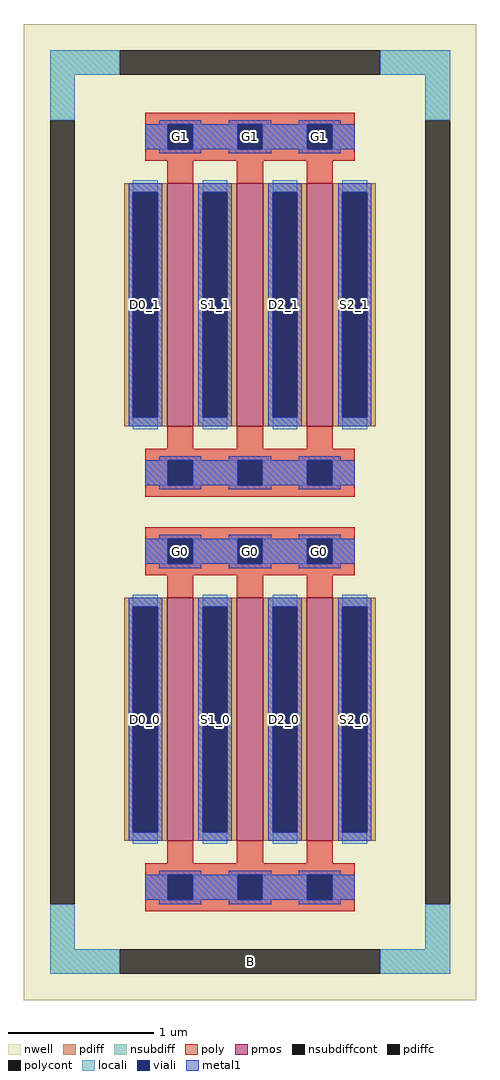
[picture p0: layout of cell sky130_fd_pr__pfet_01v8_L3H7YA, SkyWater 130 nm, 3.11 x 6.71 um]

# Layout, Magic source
magic
tech sky130A
magscale 1 2
<< nwell >>
rect -311 -671 311 671
<< pmos >>
rect -114 118 -78 452
rect -18 118 18 452
rect 78 118 114 452
rect -114 -452 -78 -118
rect -18 -452 18 -118
rect 78 -452 114 -118
<< pdiff >>
rect -173 440 -114 452
rect -173 130 -161 440
rect -127 130 -114 440
rect -173 118 -114 130
rect -78 440 -18 452
rect -78 130 -65 440
rect -31 130 -18 440
rect -78 118 -18 130
rect 18 440 78 452
rect 18 130 31 440
rect 65 130 78 440
rect 18 118 78 130
rect 114 440 173 452
rect 114 130 127 440
rect 161 130 173 440
rect 114 118 173 130
rect -173 -130 -114 -118
rect -173 -440 -161 -130
rect -127 -440 -114 -130
rect -173 -452 -114 -440
rect -78 -130 -18 -118
rect -78 -440 -65 -130
rect -31 -440 -18 -130
rect -78 -452 -18 -440
rect 18 -130 78 -118
rect 18 -440 31 -130
rect 65 -440 78 -130
rect 18 -452 78 -440
rect 114 -130 173 -118
rect 114 -440 127 -130
rect 161 -440 173 -130
rect 114 -452 173 -440
<< pdiffc >>
rect -161 130 -127 440
rect -65 130 -31 440
rect 31 130 65 440
rect 127 130 161 440
rect -161 -440 -127 -130
rect -65 -440 -31 -130
rect 31 -440 65 -130
rect 127 -440 161 -130
<< nsubdiff >>
rect -275 601 -179 635
rect 179 601 275 635
rect -275 539 -241 601
rect 241 539 275 601
rect -275 -601 -241 -539
rect 241 -601 275 -539
rect -275 -635 -179 -601
rect 179 -635 275 -601
<< nsubdiffcont >>
rect -179 601 179 635
rect -275 -539 -241 539
rect 241 -539 275 539
rect -179 -635 179 -601
<< poly >>
rect -144 533 144 549
rect -144 499 -113 533
rect -79 499 -17 533
rect 17 499 79 533
rect 113 499 144 533
rect -144 483 144 499
rect -114 452 -78 483
rect -18 452 18 483
rect 78 452 114 483
rect -114 87 -78 118
rect -18 87 18 118
rect 78 87 114 118
rect -144 71 144 87
rect -144 37 -113 71
rect -79 37 -17 71
rect 17 37 79 71
rect 113 37 144 71
rect -144 21 144 37
rect -144 -37 144 -21
rect -144 -71 -113 -37
rect -79 -71 -17 -37
rect 17 -71 79 -37
rect 113 -71 144 -37
rect -144 -87 144 -71
rect -114 -118 -78 -87
rect -18 -118 18 -87
rect 78 -118 114 -87
rect -114 -483 -78 -452
rect -18 -483 18 -452
rect 78 -483 114 -452
rect -144 -499 144 -483
rect -144 -533 -113 -499
rect -79 -533 -17 -499
rect 17 -533 79 -499
rect 113 -533 144 -499
rect -144 -549 144 -533
<< polycont >>
rect -113 499 -79 533
rect -17 499 17 533
rect 79 499 113 533
rect -113 37 -79 71
rect -17 37 17 71
rect 79 37 113 71
rect -113 -71 -79 -37
rect -17 -71 17 -37
rect 79 -71 113 -37
rect -113 -533 -79 -499
rect -17 -533 17 -499
rect 79 -533 113 -499
<< locali >>
rect -275 601 -179 635
rect 179 601 275 635
rect -275 539 -241 601
rect 241 539 275 601
rect -144 499 -113 533
rect -79 499 -17 533
rect 17 499 79 533
rect 113 499 144 533
rect -161 440 -127 456
rect -161 114 -127 130
rect -65 440 -31 456
rect -65 114 -31 130
rect 31 440 65 456
rect 31 114 65 130
rect 127 440 161 456
rect 127 114 161 130
rect -144 37 -113 71
rect -79 37 -17 71
rect 17 37 79 71
rect 113 37 144 71
rect -144 -71 -113 -37
rect -79 -71 -17 -37
rect 17 -71 79 -37
rect 113 -71 144 -37
rect -161 -130 -127 -114
rect -161 -456 -127 -440
rect -65 -130 -31 -114
rect -65 -456 -31 -440
rect 31 -130 65 -114
rect 31 -456 65 -440
rect 127 -130 161 -114
rect 127 -456 161 -440
rect -144 -533 -113 -499
rect -79 -533 -17 -499
rect 17 -533 79 -499
rect 113 -533 144 -499
rect -275 -601 -241 -539
rect 241 -601 275 -539
rect -275 -635 -179 -601
rect 179 -635 275 -601
<< viali >>
rect -113 499 -79 533
rect -17 499 17 533
rect 79 499 113 533
rect -161 130 -127 440
rect -65 130 -31 440
rect 31 130 65 440
rect 127 130 161 440
rect -113 37 -79 71
rect -17 37 17 71
rect 79 37 113 71
rect -113 -71 -79 -37
rect -17 -71 17 -37
rect 79 -71 113 -37
rect -161 -440 -127 -130
rect -65 -440 -31 -130
rect 31 -440 65 -130
rect 127 -440 161 -130
rect -113 -533 -79 -499
rect -17 -533 17 -499
rect 79 -533 113 -499
<< metal1 >>
rect -125 533 -67 539
rect -29 533 29 539
rect 67 533 125 539
rect -144 499 -113 533
rect -79 499 -17 533
rect 17 499 79 533
rect 113 499 144 533
rect -125 493 -67 499
rect -29 493 29 499
rect 67 493 125 499
rect -167 440 -121 452
rect -167 130 -161 440
rect -127 130 -121 440
rect -167 118 -121 130
rect -71 440 -25 452
rect -71 130 -65 440
rect -31 130 -25 440
rect -71 118 -25 130
rect 25 440 71 452
rect 25 130 31 440
rect 65 130 71 440
rect 25 118 71 130
rect 121 440 167 452
rect 121 130 127 440
rect 161 130 167 440
rect 121 118 167 130
rect -125 71 -67 77
rect -29 71 29 77
rect 67 71 125 77
rect -144 37 -113 71
rect -79 37 -17 71
rect 17 37 79 71
rect 113 37 144 71
rect -125 31 -67 37
rect -29 31 29 37
rect 67 31 125 37
rect -125 -37 -67 -31
rect -29 -37 29 -31
rect 67 -37 125 -31
rect -144 -71 -113 -37
rect -79 -71 -17 -37
rect 17 -71 79 -37
rect 113 -71 144 -37
rect -125 -77 -67 -71
rect -29 -77 29 -71
rect 67 -77 125 -71
rect -167 -130 -121 -118
rect -167 -440 -161 -130
rect -127 -440 -121 -130
rect -167 -452 -121 -440
rect -71 -130 -25 -118
rect -71 -440 -65 -130
rect -31 -440 -25 -130
rect -71 -452 -25 -440
rect 25 -130 71 -118
rect 25 -440 31 -130
rect 65 -440 71 -130
rect 25 -452 71 -440
rect 121 -130 167 -118
rect 121 -440 127 -130
rect 161 -440 167 -130
rect 121 -452 167 -440
rect -125 -499 -67 -493
rect -29 -499 29 -493
rect 67 -499 125 -493
rect -144 -533 -113 -499
rect -79 -533 -17 -499
rect 17 -533 79 -499
rect 113 -533 144 -499
rect -125 -539 -67 -533
rect -29 -539 29 -533
rect 67 -539 125 -533
<< labels >>
rlabel nsubdiffcont 0 -618 0 -618 0 B
port 1 nsew
rlabel pdiffc -144 -285 -144 -285 0 D0_0
port 2 nsew
rlabel polycont -96 -54 -96 -54 0 G0
port 3 nsew
rlabel pdiffc -144 285 -144 285 0 D0_1
port 4 nsew
rlabel polycont -96 516 -96 516 0 G1
port 5 nsew
rlabel pdiffc -48 -285 -48 -285 0 S1_0
port 6 nsew
rlabel polycont 0 -54 0 -54 0 G0
port 3 nsew
rlabel pdiffc -48 285 -48 285 0 S1_1
port 7 nsew
rlabel polycont 0 516 0 516 0 G1
port 5 nsew
rlabel pdiffc 48 -285 48 -285 0 D2_0
port 8 nsew
rlabel pdiffc 144 -285 144 -285 0 S2_0
port 9 nsew
rlabel polycont 96 -54 96 -54 0 G0
port 3 nsew
rlabel pdiffc 48 285 48 285 0 D2_1
port 10 nsew
rlabel pdiffc 144 285 144 285 0 S2_1
port 11 nsew
rlabel polycont 96 516 96 516 0 G1
port 5 nsew
<< properties >>
string FIXED_BBOX -258 -618 258 618
string gencell sky130_fd_pr__pfet_01v8
string library sky130
string parameters w 1.67 l 0.18 m 2 nf 3 diffcov 100 polycov 100 guard 1 glc 1 grc 1 gtc 1 gbc 1 tbcov 100 rlcov 100 topc 1 botc 1 poverlap 0 doverlap 1 lmin 0.15 wmin 0.42 class mosfet compatible {sky130_fd_pr__pfet_01v8  sky130_fd_pr__pfet_01v8_lvt sky130_fd_pr__pfet_01v8_hvt  sky130_fd_pr__pfet_g5v0d10v5} full_metal 1 conn_gates 1 viasrc 100 viadrn 100 viagate 100 viagb 0 viagr 0 viagl 0 viagt 0 doports 1
<< end >>
